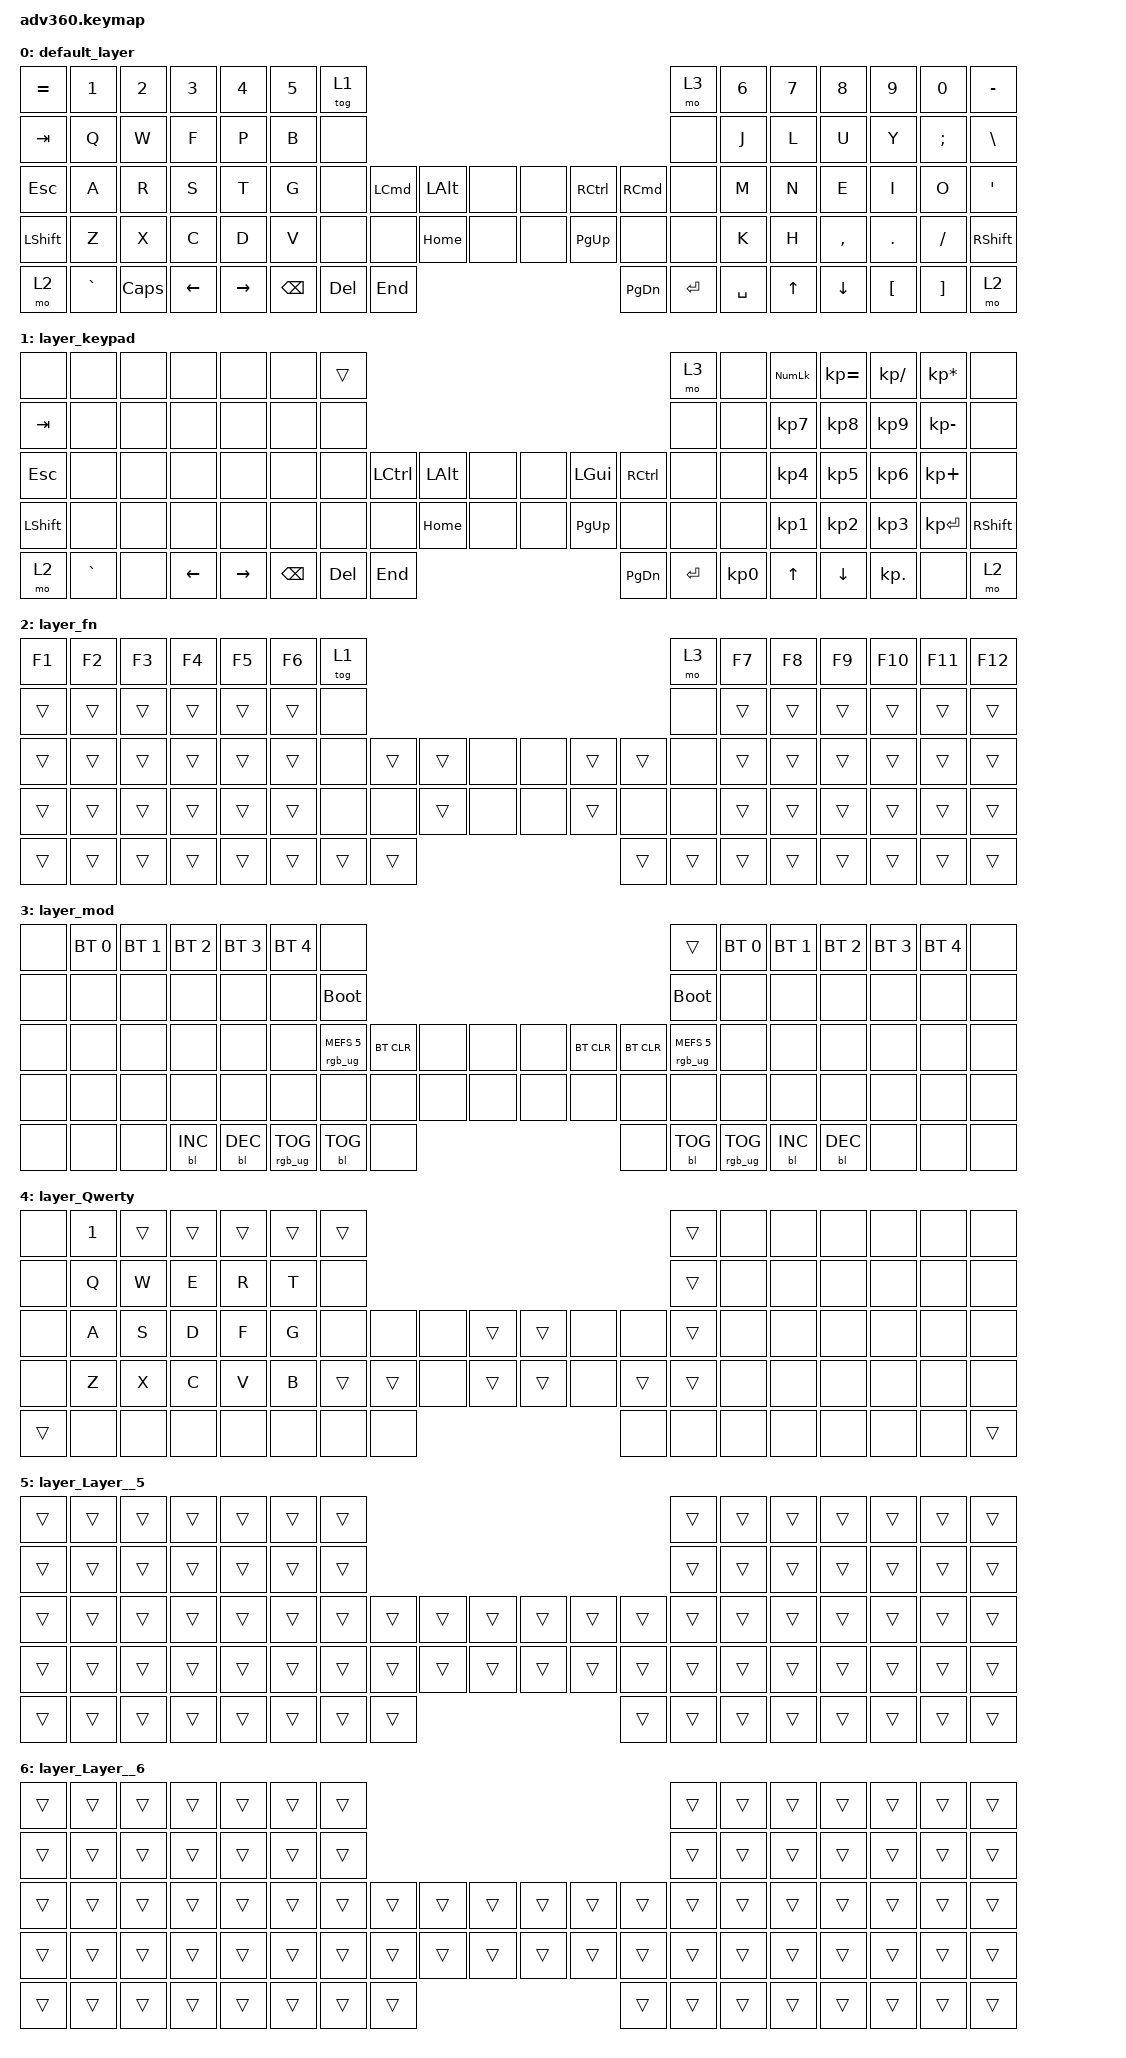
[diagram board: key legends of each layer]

/*
 * Copyright (c) 2020 The ZMK Contributors
 *
 * SPDX-License-Identifier: MIT
 */


/* THIS FILE WAS GENERATED!
 *
 * This file was generated automatically. You may or may not want to
 * edit it directly.
 */

#include <behaviors.dtsi>
#include <dt-bindings/zmk/keys.h>
#include <dt-bindings/zmk/bt.h>
#include <dt-bindings/zmk/rgb.h>
#include <dt-bindings/zmk/backlight.h>

/ {
  behaviors {
    #include "macros.dtsi"

    hm: homerow_mods {
        compatible = "zmk,behavior-hold-tap";
        label = "HOMEROW_MODS";
        #binding-cells = <2>;
        tapping-term-ms = <200>;
        quick_tap_ms = <175>;
        flavor = "tap-preferred";
        bindings = <&kp>, <&kp>;
    };
  };

    keymap {
        compatible = "zmk,keymap";


        default_layer {
            bindings = <
 &kp EQUAL     &kp N1    &kp N2    &kp N3     &kp N4  &kp N5              &tog 1                                                                                        &mo 3  &kp N6  &kp N7     &kp N8    &kp N9         &kp N0  &kp MINUS
   &kp TAB      &kp Q     &kp W     &kp F      &kp P   &kp B               &none                                                                                        &none   &kp J   &kp L      &kp U     &kp Y  &kp SEMICOLON   &kp BSLH
   &kp ESC      &kp A     &kp R     &kp S      &kp T   &kp G               &none  &kp LEFT_COMMAND  &kp LALT   &none   &none  &kp RIGHT_CONTROL  &kp RIGHT_COMMAND      &none   &kp M   &kp N      &kp E     &kp I          &kp O    &kp SQT
 &kp LSHFT      &kp Z     &kp X     &kp C      &kp D   &kp V               &none             &none  &kp HOME   &none   &none          &kp PG_UP              &none      &none   &kp K   &kp H  &kp COMMA   &kp DOT       &kp FSLH  &kp RSHFT
     &mo 2  &kp GRAVE  &kp CAPS  &kp LEFT  &kp RIGHT                    &kp BSPC           &kp DEL   &kp END                          &kp PG_DN          &kp ENTER  &kp SPACE          &kp UP   &kp DOWN  &kp LBKT       &kp RBKT      &mo 2
            >;
        };

        layer_keypad {
            bindings = <
     &none      &none   &none     &none      &none   &none              &trans                                                                 &mo 3   &none  &kp KP_NUM  &kp KP_EQUAL  &kp KP_DIVIDE  &kp KP_MULTIPLY            &none
   &kp TAB      &none   &none     &none      &none   &none               &none                                                                 &none   &none   &kp KP_N7     &kp KP_N8      &kp KP_N9     &kp KP_MINUS            &none
   &kp ESC      &none   &none     &none      &none   &none               &none  &kp LCTRL  &kp LALT   &none   &none   &kp LGUI  &kp RCTRL      &none   &none   &kp KP_N4     &kp KP_N5      &kp KP_N6      &kp KP_PLUS            &none
 &kp LSHFT      &none   &none     &none      &none   &none               &none      &none  &kp HOME   &none   &none  &kp PG_UP      &none      &none   &none   &kp KP_N1     &kp KP_N2      &kp KP_N3     &kp KP_ENTER  &kp RIGHT_SHIFT
     &mo 2  &kp GRAVE   &none  &kp LEFT  &kp RIGHT                    &kp BSPC    &kp DEL   &kp END                  &kp PG_DN  &kp ENTER  &kp KP_N0              &kp UP      &kp DOWN     &kp KP_DOT            &none            &mo 2
            >;
        };

        layer_fn {
            bindings = <
 &kp F1  &kp F2  &kp F3  &kp F4  &kp F5  &kp F6            &tog 1                                                   &mo 3  &kp F7  &kp F8  &kp F9  &kp F10  &kp F11  &kp F12
 &trans  &trans  &trans  &trans  &trans  &trans             &none                                                   &none  &trans  &trans  &trans   &trans   &trans   &trans
 &trans  &trans  &trans  &trans  &trans  &trans             &none  &trans  &trans   &none   &none  &trans  &trans   &none  &trans  &trans  &trans   &trans   &trans   &trans
 &trans  &trans  &trans  &trans  &trans  &trans             &none   &none  &trans   &none   &none  &trans   &none   &none  &trans  &trans  &trans   &trans   &trans   &trans
 &trans  &trans  &trans  &trans  &trans                    &trans  &trans  &trans                  &trans  &trans  &trans          &trans  &trans   &trans   &trans   &trans
            >;
        };

        layer_mod {
            bindings = <
  &none  &bt BT_SEL 0  &bt BT_SEL 1  &bt BT_SEL 2  &bt BT_SEL 3  &bt BT_SEL 4                             &none                                                                              &trans  &bt BT_SEL 0  &bt BT_SEL 1  &bt BT_SEL 2  &bt BT_SEL 3  &bt BT_SEL 4   &none
  &none         &none         &none         &none         &none         &none                       &bootloader                                                                         &bootloader         &none         &none         &none         &none         &none   &none
  &none         &none         &none         &none         &none         &none            &rgb_ug RGB_MEFS_CMD 5  &bt BT_CLR   &none   &none   &none  &bt BT_CLR  &bt BT_CLR  &rgb_ug RGB_MEFS_CMD 5         &none         &none         &none         &none         &none   &none
  &none         &none         &none         &none         &none         &none                             &none       &none   &none   &none   &none       &none       &none                   &none         &none         &none         &none         &none         &none   &none
  &none         &none         &none    &bl BL_INC    &bl BL_DEC                                 &rgb_ug RGB_TOG  &bl BL_TOG   &none                       &none  &bl BL_TOG         &rgb_ug RGB_TOG                  &bl BL_INC    &bl BL_DEC         &none         &none   &none
            >;
        };

        layer_Qwerty {
            bindings = <
  &none  &kp N1  &trans  &trans  &trans  &trans            &trans                                                  &trans   &none   &none   &none   &none   &none   &none
  &none   &kp Q   &kp W   &kp E   &kp R   &kp T             &none                                                  &trans   &none   &none   &none   &none   &none   &none
  &none   &kp A   &kp S   &kp D   &kp F   &kp G             &none   &none   &none  &trans  &trans   &none   &none  &trans   &none   &none   &none   &none   &none   &none
  &none   &kp Z   &kp X   &kp C   &kp V   &kp B            &trans  &trans   &none  &trans  &trans   &none  &trans  &trans   &none   &none   &none   &none   &none   &none
 &trans   &none   &none   &none   &none                     &none   &none   &none                   &none   &none   &none           &none   &none   &none   &none  &trans
            >;
        };

        layer_Layer__5 {
            bindings = <
 &trans  &trans  &trans  &trans  &trans  &trans            &trans                                                  &trans  &trans  &trans  &trans  &trans  &trans  &trans
 &trans  &trans  &trans  &trans  &trans  &trans            &trans                                                  &trans  &trans  &trans  &trans  &trans  &trans  &trans
 &trans  &trans  &trans  &trans  &trans  &trans            &trans  &trans  &trans  &trans  &trans  &trans  &trans  &trans  &trans  &trans  &trans  &trans  &trans  &trans
 &trans  &trans  &trans  &trans  &trans  &trans            &trans  &trans  &trans  &trans  &trans  &trans  &trans  &trans  &trans  &trans  &trans  &trans  &trans  &trans
 &trans  &trans  &trans  &trans  &trans                    &trans  &trans  &trans                  &trans  &trans  &trans          &trans  &trans  &trans  &trans  &trans
            >;
        };

        layer_Layer__6 {
            bindings = <
 &trans  &trans  &trans  &trans  &trans  &trans            &trans                                                  &trans  &trans  &trans  &trans  &trans  &trans  &trans
 &trans  &trans  &trans  &trans  &trans  &trans            &trans                                                  &trans  &trans  &trans  &trans  &trans  &trans  &trans
 &trans  &trans  &trans  &trans  &trans  &trans            &trans  &trans  &trans  &trans  &trans  &trans  &trans  &trans  &trans  &trans  &trans  &trans  &trans  &trans
 &trans  &trans  &trans  &trans  &trans  &trans            &trans  &trans  &trans  &trans  &trans  &trans  &trans  &trans  &trans  &trans  &trans  &trans  &trans  &trans
 &trans  &trans  &trans  &trans  &trans                    &trans  &trans  &trans                  &trans  &trans  &trans          &trans  &trans  &trans  &trans  &trans
            >;
        };

    };
};
